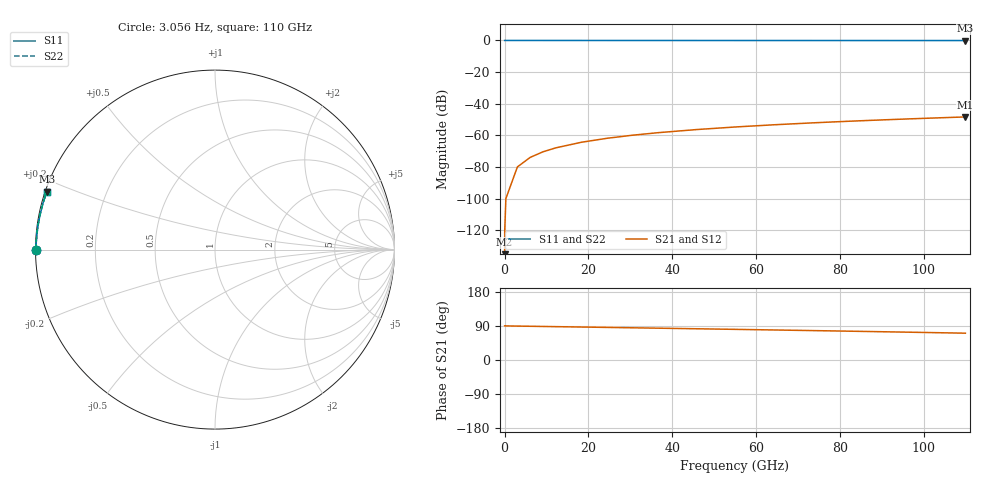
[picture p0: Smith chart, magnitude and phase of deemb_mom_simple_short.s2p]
! Created Mon Apr 12 15:27:26 2010
# hz S ma R 50
! 2 Port Network Data from data block
! freq  magS11  angS11  magS21  angS21  magS12  angS12  magS22  angS22
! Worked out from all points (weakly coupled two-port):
!   29 points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, 3.056 Hz to 110 GHz, reference 50 ohm
!   highest |S21| = -48.35 dB at 110 GHz (marker M1); lowest = -179.9 dB at 30.56 kHz (marker M2)
!   lowest |S11| = -0.1 dB at 110 GHz (marker M3), VSWR 215.47, Z = 0.239 + j8.35 ohm
!   |S11| at or under -10 dB: nowhere
!   |S22| runs from -0.1 to 0.0 dB; largest |S21 - S12| = 0
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3.055556  0.9977 180.0  1.008e-13 90.0  1.008e-13 90.0  0.9977 180.0
30555.56  0.9977 180.0  1.008e-09 90.0  1.008e-09 90.0  0.9977 180.0
3.055556e9  0.9976 179.5  0.0001008 89.5  0.0001008 89.5  0.9976 179.5
6.111111e9  0.9973 178.9  0.0002016 89.0  0.0002016 89.0  0.9973 178.9
9.166667e9  0.997 178.4  0.0003025 88.5  0.0003025 88.5  0.997 178.4
1.222222e10  0.9968 177.9  0.0004035 88.0  0.0004035 88.0  0.9968 177.9
1.833333e10  0.9964 176.9  0.0006057 87.0  0.0006057 87.0  0.9963 176.9
2.444444e10  0.996 175.8  0.0008086 86.0  0.0008086 86.0  0.996 175.8
3.055556e10  0.9957 174.8  0.001012 85.0  0.001012 85.0  0.9956 174.8
3.666667e10  0.9953 173.8  0.001217 84.0  0.001217 84.0  0.9953 173.7
4.583333e10  0.9947 172.2  0.001526 82.4  0.001526 82.4  0.9947 172.2
5.5e10  0.9942 170.7  0.001839 80.9  0.001839 80.9  0.9941 170.6
6.416667e10  0.9936 169.1  0.002156 79.3  0.002156 79.3  0.9936 169.1
7.333333e10  0.993 167.5  0.002478 77.7  0.002478 77.7  0.993 167.5
7.791667e10  0.9927 166.7  0.002641 76.8  0.002641 76.8  0.9927 166.7
8.25e10  0.9924 165.9  0.002805 76.0  0.002805 76.0  0.9924 165.9
8.708333e10  0.9922 165.1  0.00297 75.2  0.00297 75.2  0.9922 165.1
9.166667e10  0.9919 164.3  0.003137 74.3  0.003137 74.3  0.9919 164.3
9.625e10  0.9916 163.5  0.003306 73.4  0.003306 73.4  0.9916 163.5
1.008333e11  0.9914 162.7  0.003477 72.5  0.003477 72.5  0.9913 162.7
1.054167e11  0.9911 161.9  0.003649 71.7  0.003649 71.7  0.991 161.8
1.1e11  0.9908 161.0  0.003823 70.7  0.003823 70.7  0.9907 161.0
